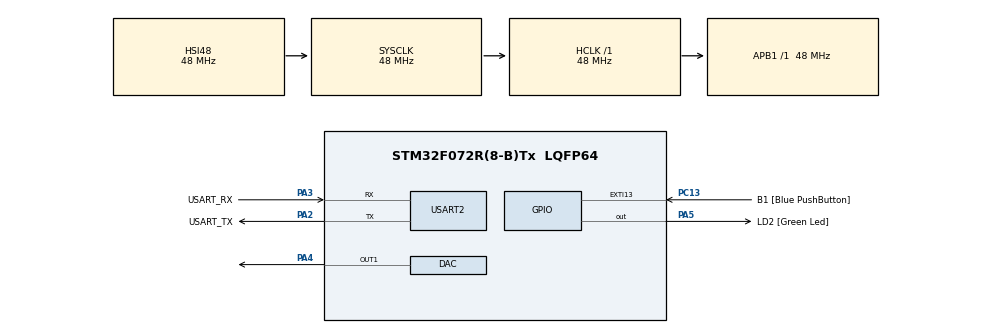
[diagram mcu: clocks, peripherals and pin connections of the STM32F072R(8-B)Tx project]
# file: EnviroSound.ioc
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DAC.DAC_OutputBuffer=DAC_OUTPUTBUFFER_ENABLE
DAC.DAC_Trigger=DAC_TRIGGER_T6_TRGO
Dma.DAC_CH1.0.Direction=DMA_MEMORY_TO_PERIPH
Dma.DAC_CH1.0.Instance=DMA1_Channel3
Dma.DAC_CH1.0.MemDataAlignment=DMA_MDATAALIGN_HALFWORD
Dma.DAC_CH1.0.MemInc=DMA_MINC_ENABLE
Dma.DAC_CH1.0.Mode=DMA_CIRCULAR
Dma.DAC_CH1.0.PeriphDataAlignment=DMA_PDATAALIGN_HALFWORD
Dma.DAC_CH1.0.PeriphInc=DMA_PINC_DISABLE
Dma.DAC_CH1.0.Priority=DMA_PRIORITY_LOW
Dma.Request0=DAC_CH1
Mcu.Family=STM32F0
Mcu.Name=STM32F072R(8-B)Tx
Mcu.Package=LQFP64
NVIC.DMA1_Channel2_3_IRQn=true\:0\:0\:false\:false\:true\:false\:true
PA13.GPIO_Label=TMS
PA13.Mode=Serial_Wire
PA13.Signal=SYS_SWDIO
PA14.GPIO_Label=TCK
PA14.Mode=Serial_Wire
PA14.Signal=SYS_SWCLK
PA2.GPIO_Label=USART_TX
PA2.GPIO_Mode=GPIO_MODE_AF_PP
PA2.GPIO_PuPd=GPIO_NOPULL
PA2.GPIO_Speed=GPIO_SPEED_FREQ_LOW
PA2.Mode=Asynchronous
PA2.Signal=USART2_TX
PA3.GPIO_Label=USART_RX
PA3.GPIO_Mode=GPIO_MODE_AF_PP
PA3.GPIO_PuPd=GPIO_NOPULL
PA3.GPIO_Speed=GPIO_SPEED_FREQ_LOW
PA3.Mode=Asynchronous
PA3.Signal=USART2_RX
PA4.Signal=COMP_DAC1_group
PA5.GPIO_Label=LD2 [Green Led]
PA5.GPIO_Mode=GPIO_MODE_OUTPUT_PP
PA5.GPIO_PuPd=GPIO_NOPULL
PA5.GPIO_Speed=GPIO_SPEED_FREQ_LOW
PA5.Signal=GPIO_Output
PC13.GPIO_Label=B1 [Blue PushButton]
PC13.GPIO_ModeDefaultEXTI=GPIO_MODE_IT_FALLING
PC13.GPIO_PuPd=GPIO_PULLUP
PC13.Signal=GPXTI13
PC14-OSC32_IN.Mode=LSE-External-Oscillator
PC14-OSC32_IN.Signal=RCC_OSC32_IN
PC15-OSC32_OUT.Mode=LSE-External-Oscillator
PC15-OSC32_OUT.Signal=RCC_OSC32_OUT
PF0-OSC_IN.Mode=HSE-External-Clock-Source
PF0-OSC_IN.Signal=RCC_OSC_IN
PF1-OSC_OUT.Signal=RCC_OSC_OUT
ProjectManager.HeapSize=0x200
ProjectManager.StackSize=0x400
ProjectManager.TargetToolchain=STM32CubeIDE
RCC.AHBFreq_Value=48000000
RCC.APB1Freq_Value=48000000
RCC.APB1TimFreq_Value=48000000
RCC.FLatency-AdvancedSettings=FLASH_LATENCY_1
RCC.HCLKFreq_Value=48000000
RCC.PLLDivider=RCC_PREDIV_DIV2
RCC.PLLMUL=RCC_PLL_MUL12
RCC.PREFETCH_ENABLE-AdvancedSettings=1
RCC.SYSCLKFreq_VALUE=48000000
RCC.SYSCLKSource=RCC_SYSCLKSOURCE_HSI48
SH.COMP_DAC1_group.0=DAC_OUT1,DAC_OUT1
TIM6.AutoReloadPreload=TIM_AUTORELOAD_PRELOAD_ENABLE
TIM6.Period=452
TIM6.Prescaler=1
TIM6.TIM_MasterOutputTrigger=TIM_TRGO_UPDATE
USART2.VirtualMode=VM_ASYNC
USART2.VirtualMode-Asynchronous=VM_ASYNC
VP_TIM6_VS_ClockSourceINT.Mode=Enable_Timer
board=NUCLEO-F072RB

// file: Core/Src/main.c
/* USER CODE BEGIN Header */
/**
  ******************************************************************************
  * @file           : main.c
  * @brief          : Main program body
  ******************************************************************************
  * @attention
  *
  * <h2><center>&copy; Copyright (c) 2020 STMicroelectronics.
  * All rights reserved.</center></h2>
  *
  * This software component is licensed by ST under BSD 3-Clause license,
  * the "License"; You may not use this file except in compliance with the
  * License. You may obtain a copy of the License at:
  *                        opensource.org/licenses/BSD-3-Clause
  *
  ******************************************************************************
  */
/* USER CODE END Header */
#include "main.h"

DAC_HandleTypeDef hdac;
DMA_HandleTypeDef hdma_dac_ch1;

TIM_HandleTypeDef htim6;

UART_HandleTypeDef huart2;

/* USER CODE BEGIN PV */

uint16_t sintable[] = {0x800,0x880,0x900,0x97f,0x9fd,0xa78,0xaf1,0xb67,0xbda,0xc49,
		0xcb3,0xd19,0xd79,0xdd4,0xe29,0xe78,0xec0,0xf02,0xf3c,0xf6f,
		0xf9b,0xfbf,0xfdb,0xfef,0xffb,0xfff,0xffb,0xfef,0xfdb,0xfbf,
		0xf9b,0xf6f,0xf3c,0xf02,0xec0,0xe78,0xe29,0xdd4,0xd79,0xd19,
		0xcb3,0xc49,0xbda,0xb67,0xaf1,0xa78,0x9fd,0x97f,0x900,0x880,
		0x800,0x77f,0x6ff,0x680,0x602,0x587,0x50e,0x498,0x425,0x3b6,
		0x34c,0x2e6,0x286,0x22b,0x1d6,0x187,0x13f,0x0fd,0x0c3,0x090,
		0x064,0x040,0x024,0x010,0x004,0x000,0x004,0x010,0x024,0x040,
		0x064,0x090,0x0c3,0x0fd,0x13f,0x187,0x1d6,0x22b,0x286,0x2e6,
		0x34c,0x3b6,0x425,0x498,0x50e,0x587,0x602,0x680,0x6ff,0x77f};

uint16_t sawtable[] = {0x052,0x0a4,0x0f6,0x148,0x19a,0x1eb,0x23d,0x28f,0x2e1,0x333,
		0x385,0x3d7,0x429,0x47b,0x4cd,0x51e,0x570,0x5c2,0x614,0x666,
		0x6b8,0x70a,0x75c,0x7ae,0x800,0x851,0x8a3,0x8f5,0x947,0x999,
		0x9eb,0xa3d,0xa8f,0xae1,0xb33,0xb84,0xbd6,0xc28,0xc7a,0xccc,
		0xd1e,0xd70,0xdc2,0xe14,0xe66,0xeb7,0xf09,0xf5b,0xfad,0xfff,
		0x000,0x052,0x0a4,0x0f6,0x148,0x19a,0x1eb,0x23d,0x28f,0x2e1,
		0x333,0x385,0x3d7,0x429,0x47b,0x4cd,0x51e,0x570,0x5c2,0x614,
		0x666,0x6b8,0x70a,0x75c,0x7ae,0x800,0x851,0x8a3,0x8f5,0x947,
		0x999,0x9eb,0xa3d,0xa8f,0xae1,0xb33,0xb84,0xbd6,0xc28,0xc7a,
		0xccc,0xd1e,0xd70,0xdc2,0xe14,0xe66,0xeb7,0xf09,0xf5b,0xfad};

uint16_t driptable[] = {0xfff,0xec4,0xda2,0xc95,0xb9e,0xab9,0x9e6,0x923,0x86f,0x7c9,
		0x730,0x6a3,0x620,0x5a7,0x538,0x4d1,0x473,0x41b,0x3ca,0x380,
		0x33b,0x2fb,0x2c1,0x28a,0x258,0x22a,0x200,0x1d8,0x1b4,0x192,
		0x173,0x157,0x13d,0x124,0x10e,0x0f9,0x0e6,0x0d4,0x0c4,0x0b5,
		0x0a7,0x09a,0x08e,0x083,0x079,0x070,0x067,0x05f,0x058,0x051,
		0x000,0x051,0x058,0x05f,0x067,0x070,0x079,0x083,0x08e,0x09a,
		0x0a7,0x0b5,0x0c4,0x0d4,0x0e6,0x0f9,0x10e,0x124,0x13d,0x157,
		0x173,0x192,0x1b4,0x1d8,0x200,0x22a,0x258,0x28a,0x2c1,0x2fb,
		0x33b,0x380,0x3ca,0x41b,0x473,0x4d1,0x538,0x5a7,0x620,0x6a3,
		0x730,0x7c9,0x86f,0x923,0x9e6,0xab9,0xb9e,0xc95,0xda2,0xec4};

uint8_t tablesize = sizeof(sintable)/sizeof(sintable[0]);

/*Variable to change wave type
 * Sin = 0
 * Saw = 1
 * Drip = 2
 */
uint8_t waveselect = 0;

/* USER CODE END PV */

void SystemClock_Config(void);
static void MX_GPIO_Init(void);
static void MX_DMA_Init(void);
static void MX_USART2_UART_Init(void);
static void MX_DAC_Init(void);
static void MX_TIM6_Init(void);

/* USER CODE BEGIN 0 */
static void EXI_GPIO_Config(void);
static void WaveChange(void);
/* USER CODE END 0 */

int main(void)
{

  /* MCU Configuration--------------------------------------------------------*/

  /* Reset of all peripherals, Initializes the Flash interface and the Systick. */
  HAL_Init();

  /* Configure the system clock */
  SystemClock_Config();

  /* Initialize all configured peripherals */
  MX_GPIO_Init();
  MX_DMA_Init();
  MX_USART2_UART_Init();
  MX_DAC_Init();
  MX_TIM6_Init();
  /* USER CODE BEGIN 2 */

  //Start TIM6 for DAC event trigger
  HAL_TIM_Base_Start(&htim6);

  //Start DAC DMA to initial configuration
  HAL_DAC_Start_DMA(&hdac, DAC_CHANNEL_1, (uint32_t*) sintable, (uint32_t) tablesize, DAC_ALIGN_12B_R);

  //Setup Push Button (C13) as an interrupt.
  EXI_GPIO_Config();

  /* USER CODE END 2 */

  /* Infinite loop */
  while (1)
  {

  }
}

void SystemClock_Config(void)
{
  RCC_OscInitTypeDef RCC_OscInitStruct = {0};
  RCC_ClkInitTypeDef RCC_ClkInitStruct = {0};
  RCC_PeriphCLKInitTypeDef PeriphClkInit = {0};

  /** Initializes the RCC Oscillators according to the specified parameters
  * in the RCC_OscInitTypeDef structure.
  */
  RCC_OscInitStruct.OscillatorType = RCC_OSCILLATORTYPE_HSI48;
  RCC_OscInitStruct.HSI48State = RCC_HSI48_ON;
  RCC_OscInitStruct.PLL.PLLState = RCC_PLL_NONE;
  if (HAL_RCC_OscConfig(&RCC_OscInitStruct) != HAL_OK)
  {
    Error_Handler();
  }
  /** Initializes the CPU, AHB and APB buses clocks
  */
  RCC_ClkInitStruct.ClockType = RCC_CLOCKTYPE_HCLK|RCC_CLOCKTYPE_SYSCLK
                              |RCC_CLOCKTYPE_PCLK1;
  RCC_ClkInitStruct.SYSCLKSource = RCC_SYSCLKSOURCE_HSI48;
  RCC_ClkInitStruct.AHBCLKDivider = RCC_SYSCLK_DIV1;
  RCC_ClkInitStruct.APB1CLKDivider = RCC_HCLK_DIV1;

  if (HAL_RCC_ClockConfig(&RCC_ClkInitStruct, FLASH_LATENCY_1) != HAL_OK)
  {
    Error_Handler();
  }
  PeriphClkInit.PeriphClockSelection = RCC_PERIPHCLK_USART2;
  PeriphClkInit.Usart2ClockSelection = RCC_USART2CLKSOURCE_PCLK1;
  if (HAL_RCCEx_PeriphCLKConfig(&PeriphClkInit) != HAL_OK)
  {
    Error_Handler();
  }
}

static void MX_DAC_Init(void)
{

  DAC_ChannelConfTypeDef sConfig = {0};

  /** DAC Initialization
  */
  hdac.Instance = DAC;
  if (HAL_DAC_Init(&hdac) != HAL_OK)
  {
    Error_Handler();
  }
  /** DAC channel OUT1 config
  */
  sConfig.DAC_Trigger = DAC_TRIGGER_T6_TRGO;
  sConfig.DAC_OutputBuffer = DAC_OUTPUTBUFFER_ENABLE;
  if (HAL_DAC_ConfigChannel(&hdac, &sConfig, DAC_CHANNEL_1) != HAL_OK)
  {
    Error_Handler();
  }

}

static void MX_TIM6_Init(void)
{

  TIM_MasterConfigTypeDef sMasterConfig = {0};

  htim6.Instance = TIM6;
  htim6.Init.Prescaler = 1;
  htim6.Init.CounterMode = TIM_COUNTERMODE_UP;
  htim6.Init.Period = 452;
  htim6.Init.AutoReloadPreload = TIM_AUTORELOAD_PRELOAD_ENABLE;
  if (HAL_TIM_Base_Init(&htim6) != HAL_OK)
  {
    Error_Handler();
  }
  sMasterConfig.MasterOutputTrigger = TIM_TRGO_UPDATE;
  sMasterConfig.MasterSlaveMode = TIM_MASTERSLAVEMODE_DISABLE;
  if (HAL_TIMEx_MasterConfigSynchronization(&htim6, &sMasterConfig) != HAL_OK)
  {
    Error_Handler();
  }

}

static void MX_USART2_UART_Init(void)
{

  huart2.Instance = USART2;
  huart2.Init.BaudRate = 38400;
  huart2.Init.WordLength = UART_WORDLENGTH_8B;
  huart2.Init.StopBits = UART_STOPBITS_1;
  huart2.Init.Parity = UART_PARITY_NONE;
  huart2.Init.Mode = UART_MODE_TX_RX;
  huart2.Init.HwFlowCtl = UART_HWCONTROL_NONE;
  huart2.Init.OverSampling = UART_OVERSAMPLING_16;
  huart2.Init.OneBitSampling = UART_ONE_BIT_SAMPLE_DISABLE;
  huart2.AdvancedInit.AdvFeatureInit = UART_ADVFEATURE_NO_INIT;
  if (HAL_UART_Init(&huart2) != HAL_OK)
  {
    Error_Handler();
  }

}

static void MX_DMA_Init(void)
{

  /* DMA controller clock enable */
  __HAL_RCC_DMA1_CLK_ENABLE();

  /* DMA interrupt init */
  /* DMA1_Channel2_3_IRQn interrupt configuration */
  HAL_NVIC_SetPriority(DMA1_Channel2_3_IRQn, 0, 0);
  HAL_NVIC_EnableIRQ(DMA1_Channel2_3_IRQn);

}

static void MX_GPIO_Init(void)
{
  GPIO_InitTypeDef GPIO_InitStruct = {0};

  /* GPIO Ports Clock Enable */
  __HAL_RCC_GPIOC_CLK_ENABLE();
  __HAL_RCC_GPIOF_CLK_ENABLE();
  __HAL_RCC_GPIOA_CLK_ENABLE();

  /*Configure GPIO pin Output Level */
  HAL_GPIO_WritePin(LD2_GPIO_Port, LD2_Pin, GPIO_PIN_RESET);

  /*Configure GPIO pin : B1_Pin */
  GPIO_InitStruct.Pin = B1_Pin;
  GPIO_InitStruct.Mode = GPIO_MODE_IT_FALLING;
  GPIO_InitStruct.Pull = GPIO_PULLUP;
  HAL_GPIO_Init(B1_GPIO_Port, &GPIO_InitStruct);

  /*Configure GPIO pin : LD2_Pin */
  GPIO_InitStruct.Pin = LD2_Pin;
  GPIO_InitStruct.Mode = GPIO_MODE_OUTPUT_PP;
  GPIO_InitStruct.Pull = GPIO_NOPULL;
  GPIO_InitStruct.Speed = GPIO_SPEED_FREQ_LOW;
  HAL_GPIO_Init(LD2_GPIO_Port, &GPIO_InitStruct);

}

/* USER CODE BEGIN 4 */
void EXI_GPIO_Config(void){

//Enable the GPIOC AHB CLOCK
	__HAL_RCC_GPIOC_CLK_ENABLE();

//Configure GPIO Pin(s)
/* Commenting out this code because I already initialize
 * the GPIO to be an input and specified interrupt
 * config.*/
//	GPIO_InitTypeDef BlueButton;
//	BlueButton.Pin = B1_Pin;
//	BlueButton.Mode = GPIO_MODE_IT_FALLING;
//	BlueButton.Pull = GPIO_PULLUP;
//	HAL_GPIO_Init(GPIOC, &BlueButton;

//Enable and set the Interupt line for the Push Button to lowest priority
	HAL_NVIC_SetPriority(EXTI4_15_IRQn,2,0);
	HAL_NVIC_EnableIRQ(EXTI4_15_IRQn);

}

void HAL_GPIO_EXTI_Callback(uint16_t GPIO_Pin){

	if (GPIO_Pin == GPIO_PIN_13)
	  {
	    /* Toggle LED2 */
		HAL_GPIO_TogglePin(GPIOA,GPIO_PIN_5);
		WaveChange();
	  }
}

static void WaveChange(void){

	if(waveselect < 2
			){

		waveselect++;

	}else{

		waveselect = 0;
	}

	HAL_DAC_Stop_DMA(&hdac, DAC_CHANNEL_1);

	switch(waveselect){

	case 0:
		HAL_DAC_Start_DMA(&hdac, DAC_CHANNEL_1, (uint32_t*) sintable, (uint32_t) tablesize, DAC_ALIGN_12B_R);
		break;

	case 1:
		HAL_DAC_Start_DMA(&hdac, DAC_CHANNEL_1, (uint32_t*) sawtable, (uint32_t) tablesize, DAC_ALIGN_12B_R);
		break;

	case 2:
		HAL_DAC_Start_DMA(&hdac, DAC_CHANNEL_1, (uint32_t*) driptable, (uint32_t) tablesize, DAC_ALIGN_12B_R);
		break;

	default:
		break;
	}

}

/* USER CODE END 4 */

void Error_Handler(void)
{
}

/************************ (C) COPYRIGHT STMicroelectronics *****END OF FILE****/
